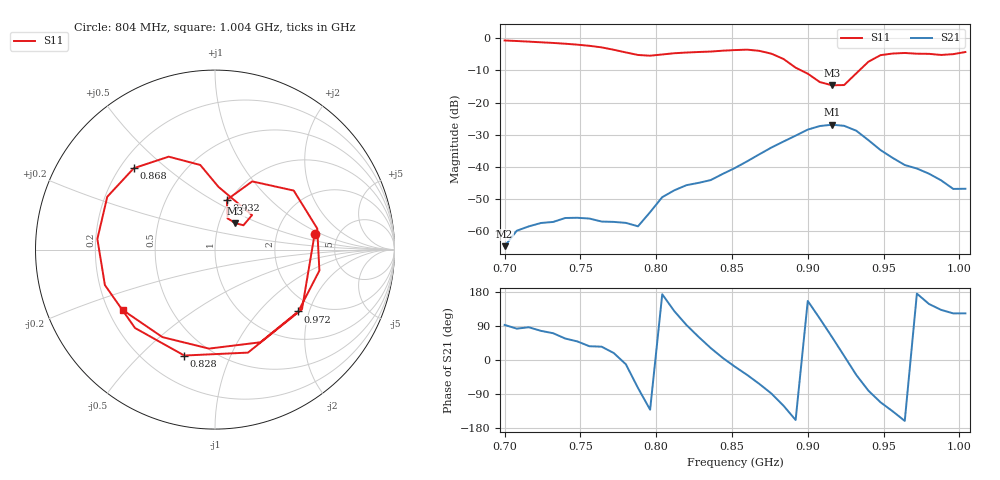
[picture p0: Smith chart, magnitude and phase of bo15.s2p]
# Hz S RI R 50
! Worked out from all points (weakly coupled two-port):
!   39 points, 700 MHz to 1.004 GHz, reference 50 ohm
!   highest |S21| = -26.91 dB at 916 MHz (marker M1); lowest = -64.8 dB at 700 MHz (marker M2)
!   lowest |S11| = -14.6 dB at 916 MHz (marker M3), VSWR 1.46, Z = 59.8 + j18.2 ohm
!   |S11| at or under -10 dB: 895.8 MHz to 934 MHz (38.2 MHz wide, 4.18 % of centre)
!   S12 and S22 are empty: the file has one direction only
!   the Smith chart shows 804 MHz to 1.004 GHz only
!   S11 on the Smith chart (normalised r, x): 804 MHz: 3.33, +0.85; 828 MHz: 0.36, -0.69; 868 MHz: 0.25, +0.39; 932 MHz: 0.97, +0.59; 972 MHz: 1.64, -1.70; 1.004 GHz: 0.26, -0.28
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7e8  0.7623 0.5324  -2.55e-05 0.000576  0 0  0 0
7.24e8  0.8305 -0.2585  0.000301 0.00129  0 0  0 0
7.4e8  0.4423 -0.6984  0.000872 0.00132  0 0  0 0
7.56e8  -0.2011 -0.7401  0.00125 0.000919  0 0  0 0
7.72e8  -0.6435 -0.1701  0.00131 0.000436  0 0  0 0
7.8e8  -0.5528 0.2461  0.0013 -0.00026  0 0  0 0
7.88e8  -0.1831 0.5211  0.000328 -0.00113  0 0  0 0
7.96e8  0.2868 0.4551  -0.00129 -0.00147  0 0  0 0
8.04e8  0.5553 0.0878  -0.00333 0.00038  0 0  0 0
8.2e8  0.1837 -0.5739  -0.000202 0.00515  0 0  0 0
8.28e8  -0.1712 -0.5902  0.00272 0.00489  0 0  0 0
8.52e8  -0.6555 0.059  0.00909 -0.00292  0 0  0 0
8.68e8  -0.4525 0.4534  0.00709 -0.0139  0 0  0 0
9e8  0.2065 0.1922  -0.0345 0.0155  0 0  0 0
9.08e8  0.1585 0.1356  -0.0141 0.0407  0 0  0 0
9.16e8  0.1139 0.147  0.0221 0.0393  0 0  0 0
9.32e8  0.0662 0.2777  0.0282 -0.0231  0 0  0 0
9.48e8  0.4387 0.3288  -0.00667 -0.0169  0 0  0 0
9.56e8  0.5694 0.1178  -0.00975 -0.00965  0 0  0 0
9.72e8  0.4639 -0.3447  -0.00933 0.000789  0 0  0 0
9.88e8  -0.0334 -0.5516  -0.00412 0.00453  0 0  0 0
1.004e9  -0.5133 -0.3371  -0.00247 0.00379  0 0  0 0
